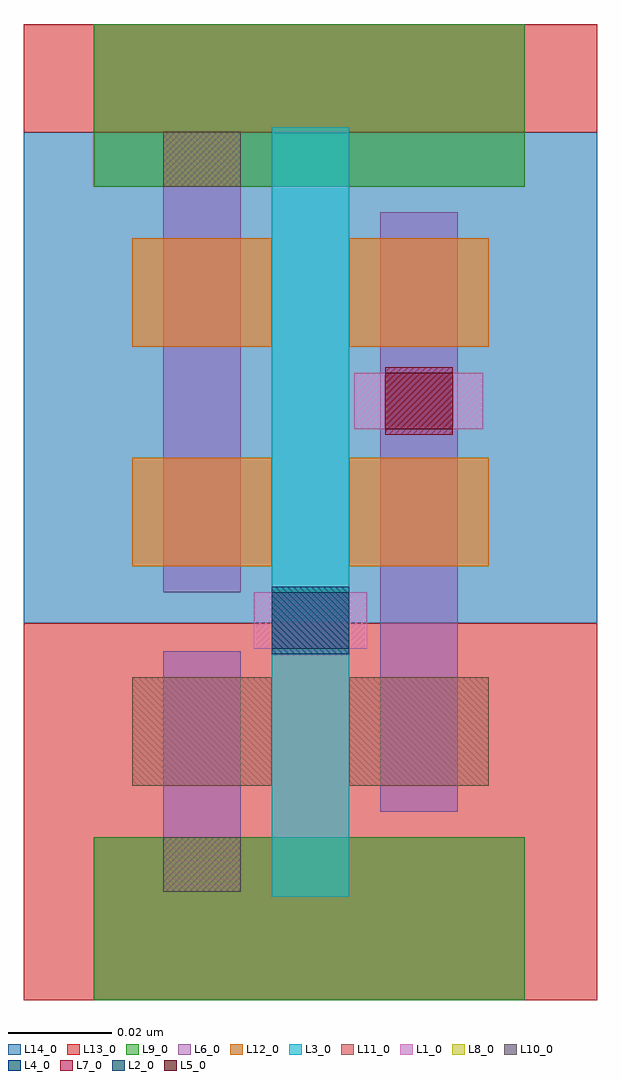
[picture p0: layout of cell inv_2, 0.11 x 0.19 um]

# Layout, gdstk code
import gdstk
lib = gdstk.Library(unit=1e-6, precision=2.5e-10)
def R(c, l, rs):  # rectangles x0, y0, x1, y1
    for r in rs: c.add(gdstk.rectangle(r[:2], r[2:], *l))
L1_0 = (1, 0)
L2_0 = (2, 0)
L3_0 = (3, 0)
L4_0 = (4, 0)
L5_0 = (5, 0)
L6_0 = (6, 0)
L7_0 = (7, 0)
L8_0 = (8, 0)
L9_0 = (9, 0)
L10_0 = (10, 0)
L11_0 = (11, 0)
L12_0 = (12, 0)
L13_0 = (13, 0)
L14_0 = (14, 0)

inv_2 = lib.new_cell('inv_2')
R(inv_2, L1_0, [(-0.011,0.016,0.011,0.027), (0.0085,0.0585,0.0335,0.0695)])
R(inv_2, L2_0, [(-0.0075,0.016,0.0075,0.027)])
R(inv_2, L3_0, [(-0.0075,-0.032,0.0075,0.117)])
R(inv_2, L4_0, [(-0.0075,0.015,0.0075,0.028)])
R(inv_2, L5_0, [(0.0145,0.0585,0.0275,0.0695)])
R(inv_2, L6_0, [(-0.0285,-0.031,-0.0135,0.0155), (0.0135,-0.0155,0.0285,0.1005), (-0.0285,0.027,-0.0135,0.116)])
R(inv_2, L7_0, [(0.0145,0.0575,0.0275,0.0705)])
R(inv_2, L8_0, [(-0.0285,-0.031,-0.0135,-0.0205), (-0.0285,0.1055,-0.0135,0.116)])
R(inv_2, L9_0, [(-0.042,-0.052,0.0415,-0.0205), (-0.042,0.1055,0.0415,0.137)])
R(inv_2, L10_0, [(-0.0285,-0.031,-0.0135,-0.0205), (-0.0285,0.1055,-0.0135,0.116)])
R(inv_2, L11_0, [(-0.0345,-0.0105,-0.0075,0.0105), (0.0075,-0.0105,0.0345,0.0105)])
R(inv_2, L12_0, [(-0.0345,0.032,-0.0075,0.053), (0.0075,0.032,0.0345,0.053), (-0.0345,0.0745,-0.0075,0.0955), (0.0075,0.0745,0.0345,0.0955)])
R(inv_2, L13_0, [(-0.0555,-0.052,0.0555,0.021), (-0.0555,0.116,0.0555,0.137)])
R(inv_2, L14_0, [(-0.0555,0.021,0.0555,0.116)])

lib.write_gds('inv_2.gds')
